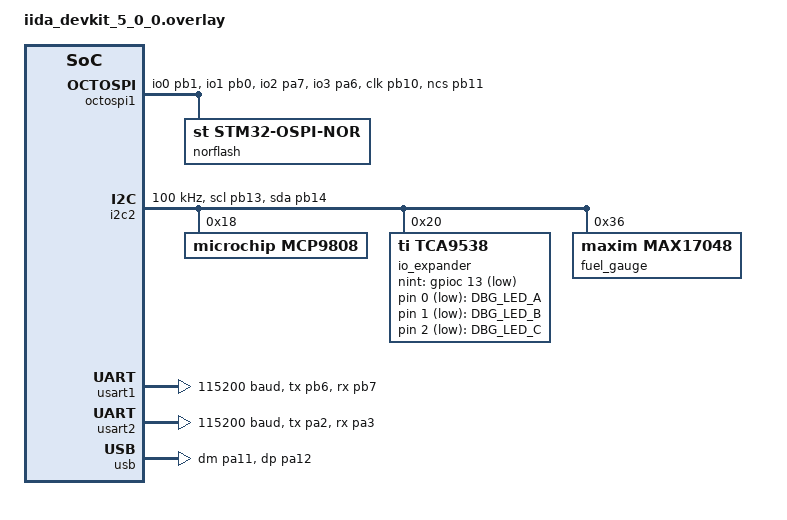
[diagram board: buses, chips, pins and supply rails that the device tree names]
/ {
	leds {
		compatible = "gpio-leds";
		dbg_led_a: dbg_led_a {
			gpios = <&io_expander 0 (GPIO_ACTIVE_LOW)>;
			label = "DBG_LED_A";
		};
		dbg_led_b: dbg_led_b {
			gpios = <&io_expander 1 (GPIO_ACTIVE_LOW)>;
			label = "DBG_LED_B";
		};
		dbg_led_c: dbg_led_c {
			gpios = <&io_expander 2 (GPIO_ACTIVE_LOW)>;
			label = "DBG_LED_C";
		};
	};

	gpio_external {
		compatible = "dummy-gpio";
		mdm_pwr_en: mdm_pwr_en {
			gpios = <&io_expander 3 (GPIO_ACTIVE_HIGH)>;
		};
		mdm_reset: mdm_reset {
			gpios = <&io_expander 4 (GPIO_ACTIVE_HIGH)>;
		};
		mdm_pwr_on: mdm_pwr_on {
			gpios = <&io_expander 5 (GPIO_ACTIVE_HIGH)>;
		};
		temp_int_n: temp_int_n {
			gpios = <&io_expander 6 (GPIO_ACTIVE_LOW)>;
		};
		bat_mon_int_n: bat_mon_int_n {
			gpios = <&io_expander 7 (GPIO_ACTIVE_LOW)>;
		};
	};
};

&octospi1 {
	pinctrl-0 = <&octospi1_io0_pb1 &octospi1_io1_pb0 &octospi1_io2_pa7 &octospi1_io3_pa6 &octospi1_clk_pb10 &octospi1_ncs_pb11>;
	pinctrl-names = "default";
	status = "okay";
	norflash: norflash@60000000 {
		compatible = "st,stm32-ospi-nor";
		reg = <0x60000000 DT_SIZE_M(8)>;
		size = <DT_SIZE_M(8)>;
		ospi-max-frequency = <DT_FREQ_M(1)>;
		spi-bus-width = <OSPI_SPI_MODE>;
		data-rate = <OSPI_STR_TRANSFER>;
		dmas = <&dma1 0 41 0x480>; /* request 41 for OCTOSPI1 */
		dma-names = "tx_rx";
	};
};

&i2c2 {
	pinctrl-0 = <&i2c2_scl_pb13 &i2c2_sda_pb14>;
	pinctrl-names = "default";
	clock-frequency = <I2C_BITRATE_STANDARD>;
	status = "okay";
	mcp9808: mcp9808@18 {
		compatible = "microchip,mcp9808", "jedec,jc-42.4-temp";
		reg = <0x18>;
		resolution = <3>;
	};
	io_expander: io_expander@20 {
		compatible = "ti,tca9538";
		reg = <0x20>;
		gpio-controller;
		ngpios = <8>;
		input-latch = <0>;
		interrupt-mask = <0x38>;
		#gpio-cells = <2>;
		nint-gpios = <&gpioc 13 (GPIO_OPEN_DRAIN | GPIO_ACTIVE_LOW)>;
	};
	fuel_gauge: fuel_gauge@36 {
		compatible = "maxim,max17048";
		status = "okay";
		reg = <0x36>;
	};
};

&usart1 {
	pinctrl-0 = <&usart1_tx_pb6 &usart1_rx_pb7>;
	pinctrl-names = "default";
	current-speed = <115200>;
	status = "okay";
};

&usart2 {
	pinctrl-0 = <&usart2_tx_pa2 &usart2_rx_pa3>;
	pinctrl-names = "default";
	current-speed = <115200>;
	status = "okay";
};

zephyr_udc0: &usb {
	pinctrl-0 = <&usb_dm_pa11 &usb_dp_pa12>;
	pinctrl-names = "default";
	status = "okay";
	cdc_acm_uart0: cdc_acm_uart0 {
		compatible = "zephyr,cdc-acm-uart";
	};
};
